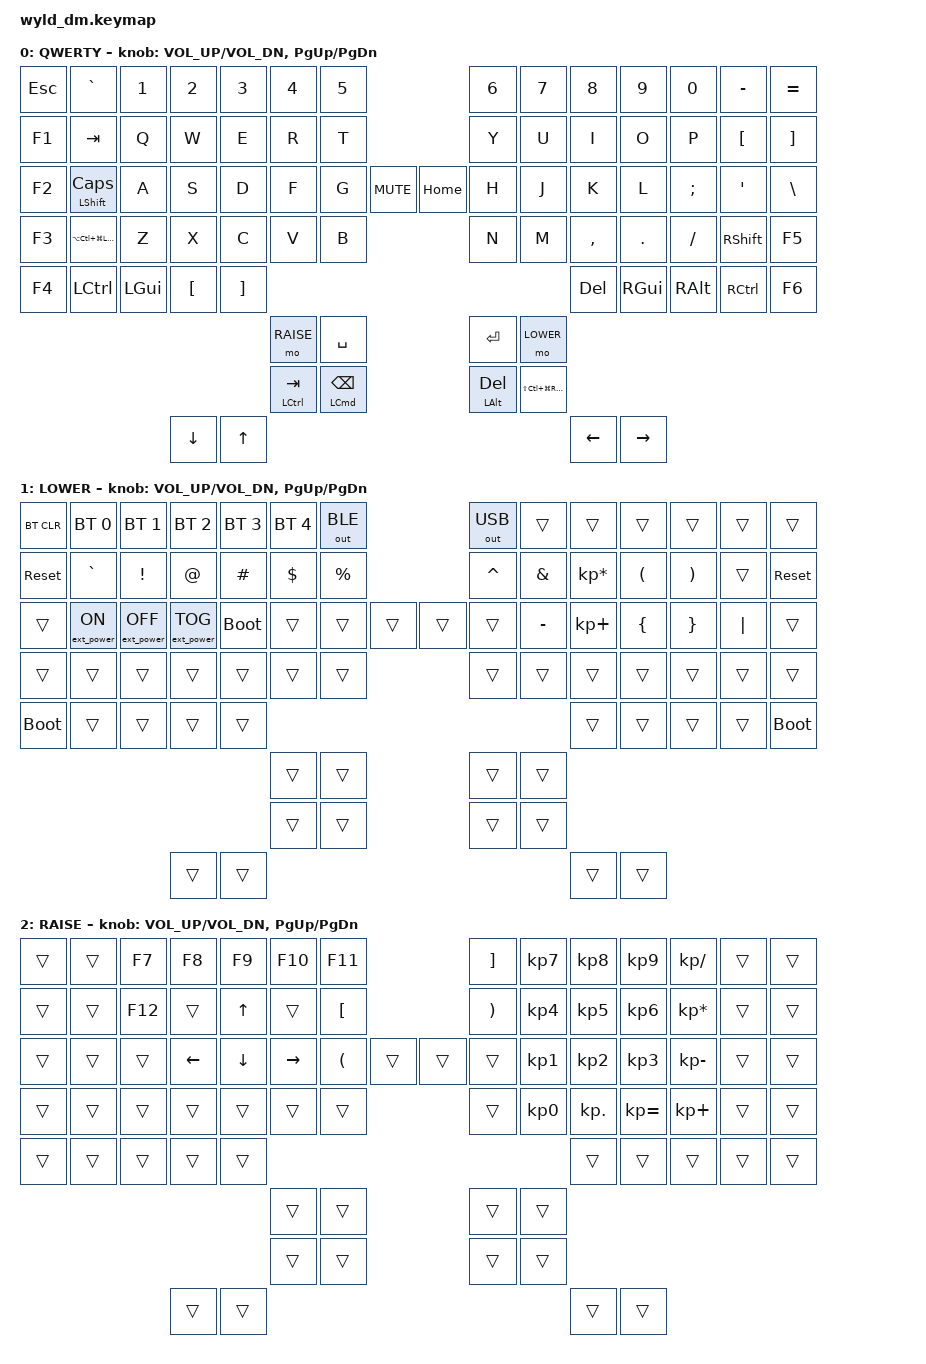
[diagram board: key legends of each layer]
/*
 * Copyright (c) 2020 The ZMK Contributors
 *
 * SPDX-License-Identifier: MIT
 */
//#include <dt-bindings/led/led.h>

#include <behaviors/mouse_keys.dtsi>
#include <dt-bindings/zmk/mouse.h>
#include <behaviors.dtsi>
#include <dt-bindings/zmk/bt.h>
#include <dt-bindings/zmk/ext_power.h>
#include <dt-bindings/zmk/keys.h>
#include <dt-bindings/zmk/outputs.h>

//#include <dt-bindings/zmk/rgb.h>
// triggering build

#define QWERTY 0
#define LOWER 1
#define RAISE 2

//# 4x6 with encoders

/ {
    keymap {
        compatible = "zmk,keymap";

        default_layer {
            display-name = "QWERTY";
            bindings = <
&kp ESC  &kp GRAVE                &kp N1    &kp N2    &kp N3    &kp N4                &kp N5                                              &kp N6               &kp N7                     &kp N8      &kp N9     &kp N0    &kp MINUS         &kp EQUAL
&kp F1   &kp TAB                  &kp Q     &kp W     &kp E     &kp R                 &kp T                                               &kp Y                &kp U                      &kp I       &kp O      &kp P     &kp LEFT_BRACKET  &kp RIGHT_BRACKET
&kp F2   &mt LEFT_SHIFT CAPSLOCK  &kp A     &kp S     &kp D     &kp F                 &kp G                       &kp K_MUTE    &kp HOME  &kp H                &kp J                      &kp K       &kp L      &kp SEMI  &kp SQT           &kp BSLH
&kp F3   &kp LA(LC(LG(LSHFT)))    &kp Z     &kp X     &kp C     &kp V                 &kp B                                               &kp N                &kp M                      &kp COMMA   &kp DOT    &kp FSLH  &kp RSHFT         &kp F5
&kp F4   &kp LCTRL                &kp LGUI  &kp LBKT  &kp RBKT                                                                                                                            &kp DELETE  &kp RGUI   &kp RALT  &kp RCTRL         &kp F6
                                                                &mo RAISE             &kp SPACE                                           &kp ENTER            &mo LOWER
                                                                &mt LEFT_CONTROL TAB  &mt LEFT_COMMAND BACKSPACE                          &mt LEFT_ALT DELETE  &kp LS(LC(LG(RIGHT_ALT)))
                                            &kp DOWN  &kp UP                                                                                                                              &kp LEFT    &kp RIGHT
            >;

            sensor-bindings = <&inc_dec_kp C_VOL_UP C_VOL_DN &inc_dec_kp PG_UP PG_DN>;
        };

        lower_layer {
            display-name = "LOWER";
            bindings = <
&bt BT_CLR   &bt BT_SEL 0      &bt BT_SEL 1       &bt BT_SEL 2       &bt BT_SEL 3  &bt BT_SEL 4  &out OUT_BLE                    &out OUT_USB  &trans     &trans           &trans    &trans    &trans    &trans
&sys_reset   &kp GRAVE         &kp EXCL           &kp AT             &kp HASH      &kp DOLLAR    &kp PRCNT                       &kp CARET     &kp AMPS   &kp KP_MULTIPLY  &kp LPAR  &kp RPAR  &trans    &sys_reset
&trans       &ext_power EP_ON  &ext_power EP_OFF  &ext_power EP_TOG  &bootloader   &trans        &trans        &trans    &trans  &trans        &kp MINUS  &kp KP_PLUS      &kp LBRC  &kp RBRC  &kp PIPE  &trans
&trans       &trans            &trans             &trans             &trans        &trans        &trans                          &trans        &trans     &trans           &trans    &trans    &trans    &trans
&bootloader  &trans            &trans             &trans             &trans                                                                               &trans           &trans    &trans    &trans    &bootloader
                                                                                   &trans        &trans                          &trans        &trans
                                                                                   &trans        &trans                          &trans        &trans
                                                  &trans             &trans                                                                               &trans           &trans
            >;

            sensor-bindings = <&inc_dec_kp C_VOL_UP C_VOL_DN &inc_dec_kp PG_UP PG_DN>;
        };

        raise_layer {
            display-name = "RAISE";
            bindings = <
&trans  &trans  &kp F7   &kp F8          &kp F9        &kp F10    &kp F11                     &kp RBKT  &kp KP_N7  &kp KP_N8   &kp KP_N9     &kp KP_DIVIDE    &trans  &trans
&trans  &trans  &kp F12  &trans          &kp UP_ARROW  &trans     &kp LBKT                    &kp RPAR  &kp KP_N4  &kp KP_N5   &kp KP_N6     &kp KP_MULTIPLY  &trans  &trans
&trans  &trans  &trans   &kp LEFT_ARROW  &kp DOWN      &kp RIGHT  &kp LPAR  &trans    &trans  &trans    &kp KP_N1  &kp KP_N2   &kp KP_N3     &kp KP_MINUS     &trans  &trans
&trans  &trans  &trans   &trans          &trans        &trans     &trans                      &trans    &kp KP_N0  &kp KP_DOT  &kp KP_EQUAL  &kp KP_PLUS      &trans  &trans
&trans  &trans  &trans   &trans          &trans                                                                    &trans      &trans        &trans           &trans  &trans
                                                       &trans     &trans                      &trans    &trans
                                                       &trans     &trans                      &trans    &trans
                         &trans          &trans                                                                    &trans      &trans
            >;

            sensor-bindings = <&inc_dec_kp C_VOL_UP C_VOL_DN &inc_dec_kp PG_UP PG_DN>;
        };
    };
};
